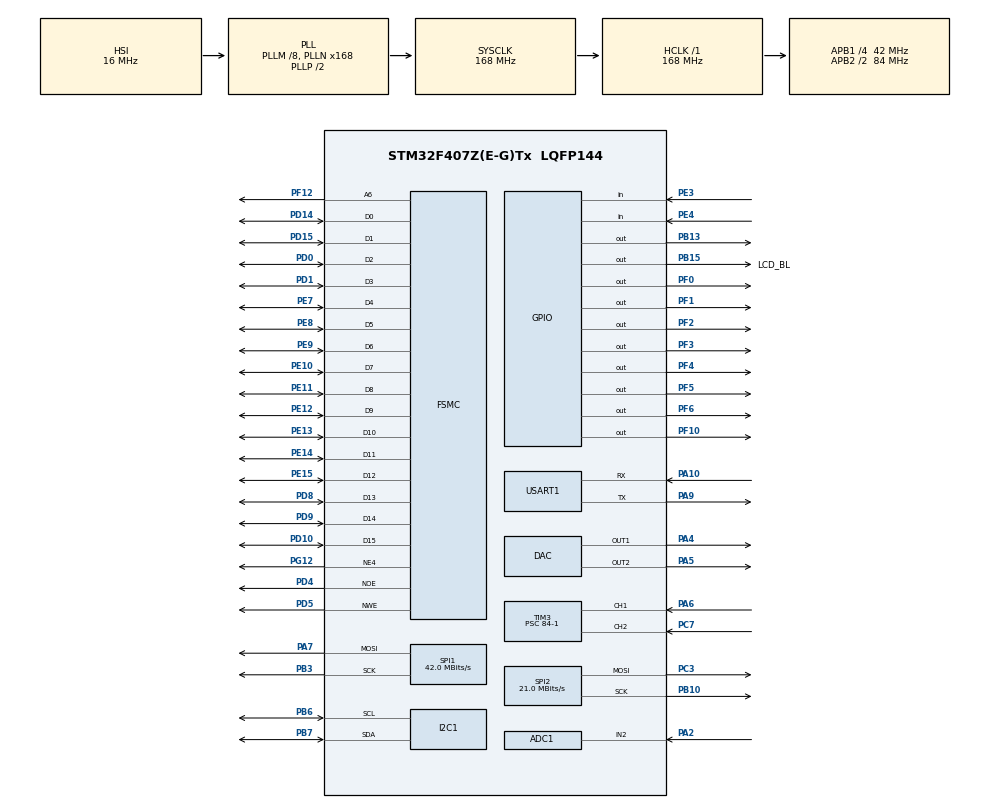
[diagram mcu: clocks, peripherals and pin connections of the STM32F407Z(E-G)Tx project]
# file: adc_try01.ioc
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ADC1.Channel-2\#ChannelRegularConversion=ADC_CHANNEL_2
ADC1.ContinuousConvMode=DISABLE
ADC1.DMAContinuousRequests=ENABLE
ADC1.ExternalTrigConv=ADC_EXTERNALTRIGCONV_T2_TRGO
ADC1.NbrOfConversionFlag=1
ADC1.Rank-2\#ChannelRegularConversion=1
ADC1.SamplingTime-2\#ChannelRegularConversion=ADC_SAMPLETIME_3CYCLES
ADC1.ScanConvMode=DISABLE
ADC1.master=1
DAC.DAC_OutputBuffer=DAC_OUTPUTBUFFER_DISABLE
DAC.DAC_Trigger=DAC_TRIGGER_T5_TRGO
Dma.ADC1.0.Direction=DMA_PERIPH_TO_MEMORY
Dma.ADC1.0.FIFOMode=DMA_FIFOMODE_DISABLE
Dma.ADC1.0.Instance=DMA2_Stream0
Dma.ADC1.0.MemDataAlignment=DMA_MDATAALIGN_HALFWORD
Dma.ADC1.0.MemInc=DMA_MINC_ENABLE
Dma.ADC1.0.Mode=DMA_NORMAL
Dma.ADC1.0.PeriphDataAlignment=DMA_PDATAALIGN_HALFWORD
Dma.ADC1.0.PeriphInc=DMA_PINC_DISABLE
Dma.ADC1.0.Priority=DMA_PRIORITY_VERY_HIGH
Dma.DAC1.3.Direction=DMA_MEMORY_TO_PERIPH
Dma.DAC1.3.FIFOMode=DMA_FIFOMODE_DISABLE
Dma.DAC1.3.Instance=DMA1_Stream5
Dma.DAC1.3.MemDataAlignment=DMA_MDATAALIGN_HALFWORD
Dma.DAC1.3.MemInc=DMA_MINC_ENABLE
Dma.DAC1.3.Mode=DMA_NORMAL
Dma.DAC1.3.PeriphDataAlignment=DMA_PDATAALIGN_HALFWORD
Dma.DAC1.3.PeriphInc=DMA_PINC_DISABLE
Dma.DAC1.3.Priority=DMA_PRIORITY_LOW
Dma.Request0=ADC1
Dma.Request1=SPI2_TX
Dma.Request2=SPI1_TX
Dma.Request3=DAC1
Dma.SPI1_TX.2.Direction=DMA_MEMORY_TO_PERIPH
Dma.SPI1_TX.2.FIFOMode=DMA_FIFOMODE_DISABLE
Dma.SPI1_TX.2.Instance=DMA2_Stream3
Dma.SPI1_TX.2.MemDataAlignment=DMA_MDATAALIGN_BYTE
Dma.SPI1_TX.2.MemInc=DMA_MINC_ENABLE
Dma.SPI1_TX.2.Mode=DMA_NORMAL
Dma.SPI1_TX.2.PeriphDataAlignment=DMA_PDATAALIGN_BYTE
Dma.SPI1_TX.2.PeriphInc=DMA_PINC_DISABLE
Dma.SPI1_TX.2.Priority=DMA_PRIORITY_LOW
Dma.SPI2_TX.1.Direction=DMA_MEMORY_TO_PERIPH
Dma.SPI2_TX.1.FIFOMode=DMA_FIFOMODE_DISABLE
Dma.SPI2_TX.1.Instance=DMA1_Stream4
Dma.SPI2_TX.1.MemDataAlignment=DMA_MDATAALIGN_BYTE
Dma.SPI2_TX.1.MemInc=DMA_MINC_ENABLE
Dma.SPI2_TX.1.Mode=DMA_NORMAL
Dma.SPI2_TX.1.PeriphDataAlignment=DMA_PDATAALIGN_BYTE
Dma.SPI2_TX.1.PeriphInc=DMA_PINC_DISABLE
Dma.SPI2_TX.1.Priority=DMA_PRIORITY_LOW
FSMC.AddressSetupTime1=0x0F
FSMC.BusTurnAroundDuration1=0
FSMC.DataSetupTime1=60
FSMC.ExtendedAddressSetupTime1=9
FSMC.ExtendedBusTurnAroundDuration1=0
FSMC.ExtendedDataSetupTime1=9
FSMC.ExtendedMode1=FSMC_EXTENDED_MODE_ENABLE
Mcu.Family=STM32F4
Mcu.Name=STM32F407Z(E-G)Tx
Mcu.Package=LQFP144
NVIC.ADC_IRQn=true\:2\:0\:true\:false\:true\:true\:true\:true
NVIC.DMA1_Stream4_IRQn=true\:0\:0\:false\:false\:true\:false\:true\:true
NVIC.DMA1_Stream5_IRQn=true\:0\:0\:false\:false\:true\:false\:true\:true
NVIC.DMA2_Stream0_IRQn=true\:0\:0\:false\:false\:true\:false\:true\:true
NVIC.DMA2_Stream3_IRQn=true\:0\:0\:false\:false\:true\:false\:true\:true
NVIC.PriorityGroup=NVIC_PRIORITYGROUP_4
NVIC.TIM3_IRQn=true\:0\:0\:false\:false\:true\:true\:true\:true
NVIC.TIM4_IRQn=true\:0\:0\:false\:false\:true\:true\:true\:true
PA10.Mode=Asynchronous
PA10.Signal=USART1_RX
PA13.Mode=Serial_Wire
PA13.Signal=SYS_JTMS-SWDIO
PA14.Mode=Serial_Wire
PA14.Signal=SYS_JTCK-SWCLK
PA2.Signal=ADCx_IN2
PA4.Signal=COMP_DAC1_group
PA5.Signal=COMP_DAC2_group
PA6.Signal=S_TIM3_CH1
PA7.Mode=TX_Only_Simplex_Unidirect_Master
PA7.Signal=SPI1_MOSI
PA9.Mode=Asynchronous
PA9.Signal=USART1_TX
PB10.Mode=TX_Only_Simplex_Unidirect_Master
PB10.Signal=SPI2_SCK
PB13.Signal=GPIO_Output
PB15.GPIO_Label=LCD_BL
PB15.Signal=GPIO_Output
PB3.Mode=TX_Only_Simplex_Unidirect_Master
PB3.Signal=SPI1_SCK
PB6.Mode=I2C
PB6.Signal=I2C1_SCL
PB7.Mode=I2C
PB7.Signal=I2C1_SDA
PC14-OSC32_IN.Mode=LSE-External-Oscillator
PC14-OSC32_IN.Signal=RCC_OSC32_IN
PC15-OSC32_OUT.Mode=LSE-External-Oscillator
PC15-OSC32_OUT.Signal=RCC_OSC32_OUT
PC3.Mode=TX_Only_Simplex_Unidirect_Master
PC3.Signal=SPI2_MOSI
PC7.Signal=S_TIM3_CH2
PD0.Signal=FSMC_D2_DA2
PD1.Signal=FSMC_D3_DA3
PD10.Signal=FSMC_D15_DA15
PD14.Signal=FSMC_D0_DA0
PD15.Signal=FSMC_D1_DA1
PD4.Signal=FSMC_NOE
PD5.Signal=FSMC_NWE
PD8.Signal=FSMC_D13_DA13
PD9.Signal=FSMC_D14_DA14
PE10.Signal=FSMC_D7_DA7
PE11.Signal=FSMC_D8_DA8
PE12.Signal=FSMC_D9_DA9
PE13.Signal=FSMC_D10_DA10
PE14.Signal=FSMC_D11_DA11
PE15.Signal=FSMC_D12_DA12
PE3.Signal=GPIO_Input
PE4.Signal=GPIO_Input
PE7.Signal=FSMC_D4_DA4
PE8.Signal=FSMC_D5_DA5
PE9.Signal=FSMC_D6_DA6
PF0.Signal=GPIO_Output
PF1.Signal=GPIO_Output
PF10.Signal=GPIO_Output
PF12.Signal=FSMC_A6
PF2.Signal=GPIO_Output
PF3.Signal=GPIO_Output
PF4.Signal=GPIO_Output
PF5.Signal=GPIO_Output
PF6.Signal=GPIO_Output
PG12.Mode=NorPsramChipSelect4_1
PG12.Signal=FSMC_NE4
PH0-OSC_IN.Mode=HSE-External-Oscillator
PH0-OSC_IN.Signal=RCC_OSC_IN
PH1-OSC_OUT.Mode=HSE-External-Oscillator
PH1-OSC_OUT.Signal=RCC_OSC_OUT
ProjectManager.HeapSize=0x200
ProjectManager.StackSize=0x400
ProjectManager.TargetToolchain=MDK-ARM V5
RCC.48MHZClocksFreq_Value=84000000
RCC.AHBFreq_Value=168000000
RCC.APB1CLKDivider=RCC_HCLK_DIV4
RCC.APB1Freq_Value=42000000
RCC.APB1TimFreq_Value=84000000
RCC.APB2CLKDivider=RCC_HCLK_DIV2
RCC.APB2Freq_Value=84000000
RCC.APB2TimFreq_Value=168000000
RCC.CortexFreq_Value=168000000
RCC.HCLKFreq_Value=168000000
RCC.HSE_VALUE=25000000
RCC.HSI_VALUE=16000000
RCC.PLLM=8
RCC.PLLN=168
RCC.SYSCLKFreq_VALUE=168000000
RCC.SYSCLKSource=RCC_SYSCLKSOURCE_PLLCLK
RCC.VCOOutputFreq_Value=336000000
SH.ADCx_IN2.0=ADC1_IN2,IN2
SH.COMP_DAC1_group.0=DAC_OUT1,DAC_OUT1
SH.COMP_DAC2_group.0=DAC_OUT2,DAC_OUT2
SH.FSMC_A6.0=FSMC_A6,A6_1
SH.FSMC_D0_DA0.0=FSMC_D0,16b-d1
SH.FSMC_D10_DA10.0=FSMC_D10,16b-d1
SH.FSMC_D11_DA11.0=FSMC_D11,16b-d1
SH.FSMC_D12_DA12.0=FSMC_D12,16b-d1
SH.FSMC_D13_DA13.0=FSMC_D13,16b-d1
SH.FSMC_D14_DA14.0=FSMC_D14,16b-d1
SH.FSMC_D15_DA15.0=FSMC_D15,16b-d1
SH.FSMC_D1_DA1.0=FSMC_D1,16b-d1
SH.FSMC_D2_DA2.0=FSMC_D2,16b-d1
SH.FSMC_D3_DA3.0=FSMC_D3,16b-d1
SH.FSMC_D4_DA4.0=FSMC_D4,16b-d1
SH.FSMC_D5_DA5.0=FSMC_D5,16b-d1
SH.FSMC_D6_DA6.0=FSMC_D6,16b-d1
SH.FSMC_D7_DA7.0=FSMC_D7,16b-d1
SH.FSMC_D8_DA8.0=FSMC_D8,16b-d1
SH.FSMC_D9_DA9.0=FSMC_D9,16b-d1
SH.FSMC_NOE.0=FSMC_NOE,Lcd1
SH.FSMC_NWE.0=FSMC_NWE,Lcd1
SH.S_TIM3_CH1.0=TIM3_CH1,TriggerSource_TI1FP1
SH.S_TIM3_CH1.1=TIM3_CH1,Input_Capture1_from_TI1
SH.S_TIM3_CH2.0=TIM3_CH2,Input_Capture2_from_TI2
SPI1.CalculateBaudRate=42.0 MBits/s
SPI1.Direction=SPI_DIRECTION_2LINES
SPI1.Mode=SPI_MODE_MASTER
SPI1.VirtualType=VM_MASTER
SPI2.CalculateBaudRate=21.0 MBits/s
SPI2.Direction=SPI_DIRECTION_2LINES
SPI2.Mode=SPI_MODE_MASTER
SPI2.VirtualType=VM_MASTER
STMicroelectronics.X-CUBE-ALGOBUILD.1.4.0.LibraryCcDSPOoLibraryJjDSPOoLibrary=true
TIM2.AutoReloadPreload=TIM_AUTORELOAD_PRELOAD_ENABLE
TIM2.Channel-PWM\ Generation2\ No\ Output=TIM_CHANNEL_2
TIM2.Period=8-1
TIM2.Prescaler=410-1
TIM2.Pulse-PWM\ Generation2\ No\ Output=2-1
TIM2.TIM_MasterOutputTrigger=TIM_TRGO_OC2REF
TIM2.TIM_MasterSlaveMode=TIM_MASTERSLAVEMODE_DISABLE
TIM3.AutoReloadPreload=TIM_AUTORELOAD_PRELOAD_ENABLE
TIM3.Channel-Input_Capture1_from_TI1=TIM_CHANNEL_1
TIM3.Channel-Input_Capture2_from_TI2=TIM_CHANNEL_2
TIM3.ICPolarity_CH2=TIM_INPUTCHANNELPOLARITY_FALLING
TIM3.Period=20000-1
TIM3.Prescaler=84-1
TIM3.TIM_MasterOutputTrigger=TIM_TRGO_RESET
TIM4.AutoReloadPreload=TIM_AUTORELOAD_PRELOAD_ENABLE
TIM4.Period=1000-1
TIM4.Prescaler=83-1
TIM5.AutoReloadPreload=TIM_AUTORELOAD_PRELOAD_ENABLE
TIM5.Period=84-1
TIM5.TIM_MasterOutputTrigger=TIM_TRGO_UPDATE
USART1.VirtualMode=VM_ASYNC
VP_STMicroelectronics.X-CUBE-ALGOBUILD_VS_DSPOoLibraryJjLibrary_1.4.0_1.4.0.Mode=DSPOoLibraryJjLibrary
VP_TIM2_VS_ClockSourceINT.Mode=Internal
VP_TIM2_VS_no_output2.Mode=PWM Generation2 No Output
VP_TIM3_VS_ClockSourceINT.Mode=Internal
VP_TIM3_VS_ControllerModeReset.Mode=Reset Mode
VP_TIM4_VS_ClockSourceINT.Mode=Internal
VP_TIM5_VS_ClockSourceINT.Mode=Internal
board=custom

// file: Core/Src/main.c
/* USER CODE BEGIN Header */
/**
  ******************************************************************************
  * @file           : main.c
  * @brief          : Main program body
  ******************************************************************************
  * @attention
  *
  * Copyright (c) 2024 STMicroelectronics.
  * All rights reserved.
  *
  * This software is licensed under terms that can be found in the LICENSE file
  * in the root directory of this software component.
  * If no LICENSE file comes with this software, it is provided AS-IS.
  *
  ******************************************************************************
  */
/* USER CODE END Header */
#include "main.h"
#include "adc.h"
#include "dac.h"
#include "dma.h"
#include "i2c.h"
#include "spi.h"
#include "tim.h"
#include "usart.h"
#include "gpio.h"
#include "fsmc.h"

/* USER CODE BEGIN Includes */
#include "stdio.h"
#include "lcd.h"
#include "arm_math.h"
#include "arm_const_structs.h"
#include "LCD_Show.h"
#include "fft_handle.h"
#include "TFTGPIO.h"

/* USER CODE END Includes */

/* USER CODE BEGIN PD */
#define FFT_LENGTH 4096										//采样点个数

/* USER CODE END PD */

/* USER CODE BEGIN PV */
uint16_t i = 0;
uint16_t j = 0;
uint16_t DrawingTime_cnt = 0;
uint16_t PWMCheck_cnt = 0;
uint16_t adcBuff[FFT_LENGTH];							//adc采样数组
float adcVolt[FFT_LENGTH];								//adc转换后的真实电压数组
__IO uint8_t AdcConvEnd = 0;							//adc采集完成标志
uint32_t f_sa = 25600;										//基础采样频率为17.3k
float fft_frequency = 0;
float fft_frequency2=0;   //FFT测出最大基波频率、次大基波频率
extern float fft_outputbuf[FFT_LENGTH];  				//fft计算后数组
extern float bizhi1[10];

/* USER CODE END PV */

void SystemClock_Config(void);

/* USER CODE BEGIN 0 */

float PWM_RisingCount;
float PWM_FallingCount;
float duty;
char P_buff[30];
float PWM_frequency = 0;
//************************THD题目变量*********************
int key_flag=0;
int mode=0;

int key_index=0;
//********************************************************

//void HAL_GPIO_EXIT_Callback(uint16_t GPIO_PIN)
//{
//	if (GPIO_PIN==GPIO_PIN_4)
//	{
//		key_flag=1;
//		HAL_GPIO_TogglePin(GPIOF,GPIO_PIN_10);
//	}
//	else if (GPIO_PIN==GPIO_PIN_3)
//	{
//		HAL_GPIO_TogglePin(GPIOF,GPIO_PIN_10);
//	}
//}

void PWM_Input_Capture(void)
{
//		printf("PWM_Frequency = %.4f \r\n",1000000/PWM_RisingCount);			//数据测试
//		printf("PWM_RisingCount = %.2f %% \r\n",PWM_RisingCount);
//		printf("PWM_FallingCount = %.2f %% \r\n",PWM_FallingCount);
//	  printf("PWM_Duty = %.2f %% \r\n",duty * 100);
		PWMCheck_cnt++;
		if (PWMCheck_cnt==10)
		{
			lcd_show_string(405,160,80,16,16,"PWM_F(Hz):",YELLOW);
			sprintf(P_buff,"%0.3fHz",1000000/PWM_RisingCount);									//PWM测频率
			lcd_show_string(405,180,130,16,16,P_buff,WHITE);
			lcd_show_string(405,120,80,16,16,"Duty:",YELLOW);
			sprintf(P_buff,"%.2f %%",duty * 100);																//PWM测占空比
			lcd_show_string(405,140,80,16,16,P_buff,WHITE);
			PWMCheck_cnt = 0;
		}

}
/* USER CODE END 0 */

int main(void)
{

  /* MCU Configuration--------------------------------------------------------*/

  /* Reset of all peripherals, Initializes the Flash interface and the Systick. */
  HAL_Init();

  /* Configure the system clock */
  SystemClock_Config();

  /* Initialize all configured peripherals */
  MX_GPIO_Init();
  MX_DMA_Init();
  MX_ADC1_Init();
  MX_USART1_UART_Init();
  MX_TIM3_Init();
  MX_TIM2_Init();
  MX_FSMC_Init();
  MX_SPI1_Init();
  MX_SPI2_Init();
  MX_DAC_Init();
  MX_I2C1_Init();
  MX_TIM4_Init();
  MX_TIM5_Init();
  /* USER CODE BEGIN 2 */
	lcd_init();
	lcd_display_dir(1);
	HAL_TIM_Base_Start(&htim2);
  //HAL_TIM_PWM_Start(&htim2, TIM_CHANNEL_2);
	HAL_TIM_Base_Start(&htim3);//启动定时器3
	HAL_TIM_IC_Start_IT(&htim3,TIM_CHANNEL_1);							//定时器3通道1——上升沿捕获
	HAL_TIM_IC_Start_IT(&htim3,TIM_CHANNEL_2);							//定时器3通道2——下降沿捕获
	Set_BackGround();	        //显示背景
	Lcd_DrawNetwork();
	Draw_Prompt();				//画提示符

	HAL_ADC_Start_DMA(&hadc1,(uint32_t*)adcBuff,FFT_LENGTH);//启动ADC的DMA传输

	TFTGPIO_main(0);

  /* USER CODE END 2 */

  /* Infinite loop */
  /* USER CODE BEGIN WHILE */
  while (1)
  {

	//***************THD逻辑*************************
	  key_index++;
		if (key_index==15)
		{
			key_index=0;
			if (HAL_GPIO_ReadPin(GPIOE,GPIO_PIN_4)==GPIO_PIN_RESET)
			{
				mode++;
				if (mode==5)
				{
					mode=0;
				}
			}
		}

	  TFTGPIO_main(mode);

	 //********************************************

	  while (!AdcConvEnd);                                   //等待转换完毕
		for (j = 0; j < FFT_LENGTH; j++)										//输出adc模拟采样值
		{
			adcVolt[j] = adcBuff[j] * 3.3 / 4095;							// adcBuff[j]* 3.3 / 4096是为了将ADC采集到的值转换成实际电压

			//printf("adcBuff[%d]:%.3f\n",j,adcVolt[j]*1000); 			//数据打印，查看结果
		}
		//ADCvolt_ANA();
//		DrawingTime_cnt++;           //去掉波形显示
//		if (DrawingTime_cnt==10)
//		{
//			//DrawOscillogram();
//			DrawingTime_cnt = 0;
//		}
		//printf("checkmain\n");
		fftCalculate();

		HAL_ADC_Start_DMA(&hadc1,(uint32_t*)adcBuff,FFT_LENGTH);//启动ADC的DMA传输

    /* USER CODE END WHILE */

  }
}

void SystemClock_Config(void)
{
  RCC_OscInitTypeDef RCC_OscInitStruct = {0};
  RCC_ClkInitTypeDef RCC_ClkInitStruct = {0};

  /** Configure the main internal regulator output voltage
  */
  __HAL_RCC_PWR_CLK_ENABLE();
  __HAL_PWR_VOLTAGESCALING_CONFIG(PWR_REGULATOR_VOLTAGE_SCALE1);

  /** Initializes the RCC Oscillators according to the specified parameters
  * in the RCC_OscInitTypeDef structure.
  */
  RCC_OscInitStruct.OscillatorType = RCC_OSCILLATORTYPE_HSI;
  RCC_OscInitStruct.HSIState = RCC_HSI_ON;
  RCC_OscInitStruct.HSICalibrationValue = RCC_HSICALIBRATION_DEFAULT;
  RCC_OscInitStruct.PLL.PLLState = RCC_PLL_ON;
  RCC_OscInitStruct.PLL.PLLSource = RCC_PLLSOURCE_HSI;
  RCC_OscInitStruct.PLL.PLLM = 8;
  RCC_OscInitStruct.PLL.PLLN = 168;
  RCC_OscInitStruct.PLL.PLLP = RCC_PLLP_DIV2;
  RCC_OscInitStruct.PLL.PLLQ = 4;
  if (HAL_RCC_OscConfig(&RCC_OscInitStruct) != HAL_OK)
  {
    Error_Handler();
  }

  /** Initializes the CPU, AHB and APB buses clocks
  */
  RCC_ClkInitStruct.ClockType = RCC_CLOCKTYPE_HCLK|RCC_CLOCKTYPE_SYSCLK
                              |RCC_CLOCKTYPE_PCLK1|RCC_CLOCKTYPE_PCLK2;
  RCC_ClkInitStruct.SYSCLKSource = RCC_SYSCLKSOURCE_PLLCLK;
  RCC_ClkInitStruct.AHBCLKDivider = RCC_SYSCLK_DIV1;
  RCC_ClkInitStruct.APB1CLKDivider = RCC_HCLK_DIV4;
  RCC_ClkInitStruct.APB2CLKDivider = RCC_HCLK_DIV2;

  if (HAL_RCC_ClockConfig(&RCC_ClkInitStruct, FLASH_LATENCY_5) != HAL_OK)
  {
    Error_Handler();
  }
}

/* USER CODE BEGIN 4 */

void HAL_TIM_IC_CaptureCallback(TIM_HandleTypeDef *htim)
{
	if(htim->Channel == HAL_TIM_ACTIVE_CHANNEL_1)
    //注意这里为HAL_TIM_ACTIVE_CHANNEL_1而不是TIM_CHANNEL_1
	{
		PWM_RisingCount = HAL_TIM_ReadCapturedValue(&htim3,TIM_CHANNEL_1);
		duty =	PWM_FallingCount / PWM_RisingCount;
	}
	if(htim->Channel == HAL_TIM_ACTIVE_CHANNEL_2)
	{
		PWM_FallingCount = HAL_TIM_ReadCapturedValue(&htim3,TIM_CHANNEL_2);
	}
	PWM_Input_Capture();
}

//void HAL_ADC_ConvCpltCallback(ADC_HandleTypeDef* hadc)
//{
//    if(hadc==&hadc1 && i < FFT_LENGTH)
//    {
//				adcBuff[i] =HAL_ADC_GetValue(&hadc1);				//采样存入adcBuff[FFT_LENGTH]
//        i++;
//		}
//		else
//		{
//			AdcConvEnd=1;																	//采样完成，标志置1，开始fft计算
//			i = 0;
//		}
//
//}
/* USER CODE END 4 */

void Error_Handler(void)
{
  __disable_irq();
  while (1)
  {
  }
}
